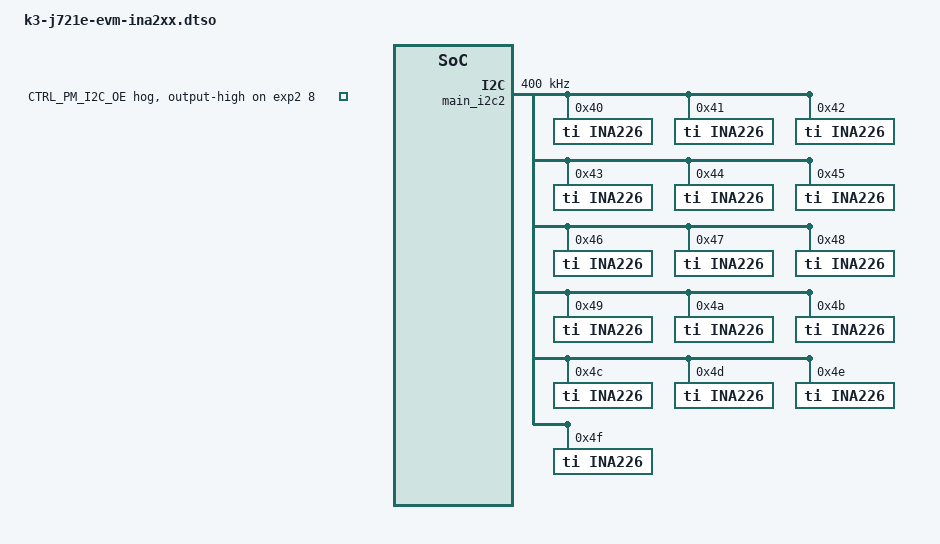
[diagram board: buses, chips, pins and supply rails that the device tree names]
// SPDX-License-Identifier: GPL-2.0-only OR MIT
/**
 * DT Overlay for INA2xx for J721E board
 *
 * Copyright (C) 2024 Texas Instruments Incorporated - https://www.ti.com/
 */

/dts-v1/;
/plugin/;

#include <dt-bindings/gpio/gpio.h>
#include <dt-bindings/net/ti-dp83867.h>

#include "k3-pinctrl.h"

&main_pmx0 {
	main_i2c2_pins_default: main-i2c2-default-pins {
		pinctrl-single,pins = <
			J721E_IOPAD(0x1c8, PIN_INPUT_PULLUP, 2) /* (AB5) SPI0_CLK.I2C2_SCL */
			J721E_IOPAD(0x1cc, PIN_INPUT_PULLUP, 2) /* (AA1) SPI0_D0.I2C2_SDA */
		>;
	};
};

&exp2 {
	p08-hog {
		/* P10 - PM_I2C_CTRL_OE */
		gpio-hog;
		gpios = <8 GPIO_ACTIVE_HIGH>;
		output-high;
		line-name = "CTRL_PM_I2C_OE";
	};
};

&main_i2c2 {
	pinctrl-names = "default";
	pinctrl-0 = <&main_i2c2_pins_default>;
	clock-frequency = <400000>;
	status = "okay";
	#address-cells = <1>;
	#size-cells = <0>;

	ina226@40 {
		compatible = "ti,ina226";
		reg = <0x40>;
		shunt-resistor = <10000>;
	};

	ina226@41 {
		compatible = "ti,ina226";
		reg = <0x41>;
		shunt-resistor = <10000>;
	};

	ina226@42 {
		compatible = "ti,ina226";
		reg = <0x42>;
		shunt-resistor = <10000>;
	};

	ina226@43 {
		compatible = "ti,ina226";
		reg = <0x43>;
		shunt-resistor = <10000>;
	};

	ina226@44 {
		compatible = "ti,ina226";
		reg = <0x44>;
		shunt-resistor = <10000>;
	};

	ina226@45 {
		compatible = "ti,ina226";
		reg = <0x45>;
		shunt-resistor = <5000>;
	};

	ina226@46 {
		compatible = "ti,ina226";
		reg = <0x46>;
		shunt-resistor = <10000>;
	};

	ina226@47 {
		compatible = "ti,ina226";
		reg = <0x47>;
		shunt-resistor = <10000>;
	};

	ina226@48 {
		compatible = "ti,ina226";
		reg = <0x48>;
		shunt-resistor = <10000>;
	};

	ina226@49 {
		compatible = "ti,ina226";
		reg = <0x49>;
		shunt-resistor = <10000>;
	};

	ina226@4a {
		compatible = "ti,ina226";
		reg = <0x4a>;
		shunt-resistor = <10000>;
	};

	ina226@4b {
		compatible = "ti,ina226";
		reg = <0x4b>;
		shunt-resistor = <10000>;
	};

	ina226@4c {
		compatible = "ti,ina226";
		reg = <0x4c>;
		shunt-resistor = <10000>;
	};

	ina226@4d {
		compatible = "ti,ina226";
		reg = <0x4d>;
		shunt-resistor = <10000>;
	};

	ina226@4e {
		compatible = "ti,ina226";
		reg = <0x4e>;
		shunt-resistor = <10000>;
	};

	ina226@4f {
		compatible = "ti,ina226";
		reg = <0x4f>;
		shunt-resistor = <10000>;
	};
};

